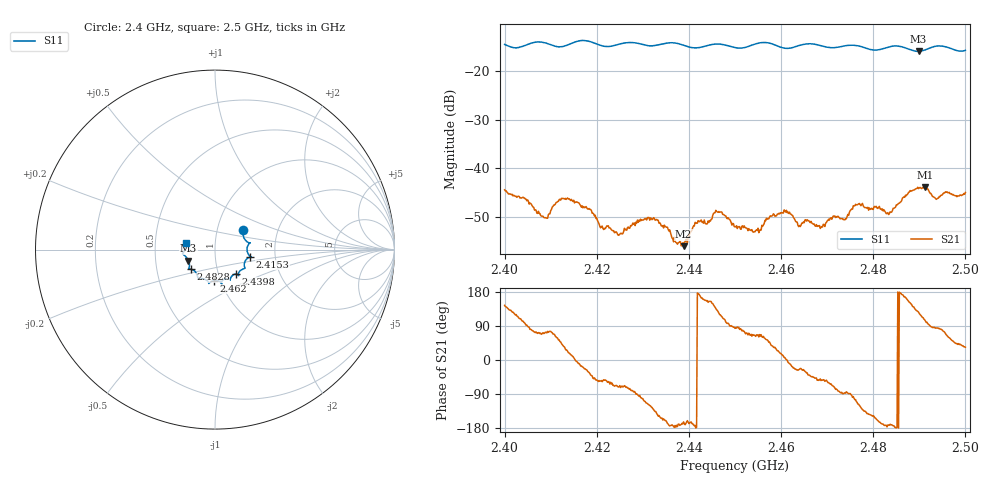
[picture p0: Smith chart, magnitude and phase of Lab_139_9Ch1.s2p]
# Hz S RI R 50
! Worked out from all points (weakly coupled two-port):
!   601 points, 2.4 GHz to 2.5 GHz, reference 50 ohm
!   highest |S21| = -43.86 dB at 2.4912 GHz (marker M1); lowest = -56.1 dB at 2.4388 GHz (marker M2)
!   lowest |S11| = -15.9 dB at 2.4898 GHz (marker M3), VSWR 1.38, Z = 36.9 - j4.63 ohm
!   |S11| at or under -10 dB: start of sweep to end of sweep
!   S12 and S22 are empty: the file has one direction only
!   S11 on the Smith chart (normalised r, x): 2.4 GHz: 1.33, +0.30; 2.4153 GHz: 1.48, -0.12; 2.4398 GHz: 1.21, -0.34; 2.462 GHz: 0.93, -0.33; 2.4828 GHz: 0.74, -0.17; 2.5 GHz: 0.72, +0.06
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2.4e9  0.1553 0.107  -0.00485 0.00349  0 0  0 0
2.408833e9  0.1926 0.0353  0.000895 0.00295  0 0  0 0
2.412333e9  0.1785 -0.00504  0.00353 0.00336  0 0  0 0
2.415333e9  0.1967 -0.0388  0.00447 9.01e-06  0 0  0 0
2.416667e9  0.2025 -0.0428  0.0038 -0.00107  0 0  0 0
2.425e9  0.1646 -0.0964  0.000791 -0.00192  0 0  0 0
2.433333e9  0.1307 -0.1335  -0.00246 -0.00154  0 0  0 0
2.438833e9  0.1238 -0.1374  -0.0015 -0.000452  0 0  0 0
2.439833e9  0.1154 -0.1359  -0.00184 -0.000524  0 0  0 0
2.446e9  0.0849 -0.1705  -0.00242 0.00262  0 0  0 0
2.45e9  0.0653 -0.1625  0.000279 0.00246  0 0  0 0
2.454333e9  0.0353 -0.1869  0.000965 0.00198  0 0  0 0
2.462e9  -0.0051 -0.1729  0.00331 -0.000636  0 0  0 0
2.466667e9  -0.0344 -0.1881  0.00194 -0.0019  0 0  0 0
2.473833e9  -0.087 -0.1606  0.000182 -0.00292  0 0  0 0
2.476667e9  -0.0958 -0.1555  -0.00186 -0.00379  0 0  0 0
2.482833e9  -0.1365 -0.1092  -0.00336 -0.000451  0 0  0 0
2.483333e9  -0.1402 -0.1089  -0.00328 -0.00049  0 0  0 0
2.489833e9  -0.1479 -0.0611  -0.00363 0.00497  0 0  0 0
2.491167e9  -0.1593 -0.0431  -0.00179 0.00615  0 0  0 0
2.493667e9  -0.1796 -0.0238  0.00045 0.00474  0 0  0 0
2.5e9  -0.159 0.0387  0.00466 0.00311  0 0  0 0
